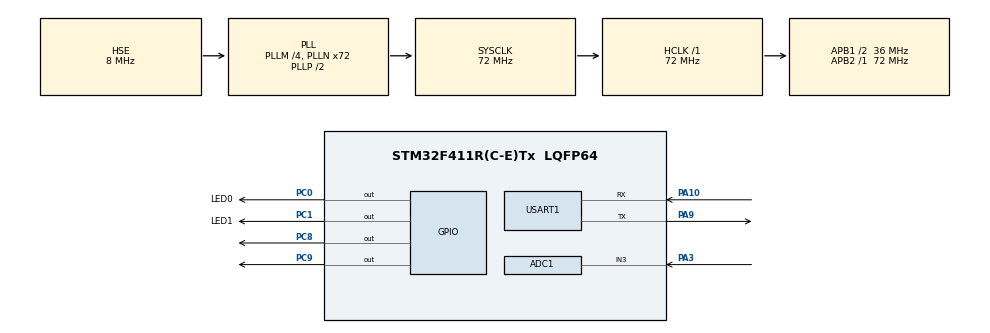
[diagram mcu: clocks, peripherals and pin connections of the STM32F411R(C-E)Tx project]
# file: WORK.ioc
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ADC1.Channel-3\#ChannelRegularConversion=ADC_CHANNEL_3
ADC1.ContinuousConvMode=ENABLE
ADC1.NbrOfConversionFlag=1
ADC1.Rank-3\#ChannelRegularConversion=1
ADC1.SamplingTime-3\#ChannelRegularConversion=ADC_SAMPLETIME_3CYCLES
ADC1.master=1
Mcu.Family=STM32F4
Mcu.Name=STM32F411R(C-E)Tx
Mcu.Package=LQFP64
NVIC.PriorityGroup=NVIC_PRIORITYGROUP_4
NVIC.USART1_IRQn=true\:0\:0\:false\:false\:true\:true\:true\:true
PA10.Mode=Asynchronous
PA10.Signal=USART1_RX
PA3.Signal=ADCx_IN3
PA9.Mode=Asynchronous
PA9.Signal=USART1_TX
PC0.GPIO_Label=LED0
PC0.GPIO_PuPd=GPIO_PULLUP
PC0.GPIO_Speed=GPIO_SPEED_FREQ_HIGH
PC0.PinState=GPIO_PIN_SET
PC0.Signal=GPIO_Output
PC1.GPIO_Label=LED1
PC1.GPIO_PuPd=GPIO_PULLUP
PC1.GPIO_Speed=GPIO_SPEED_FREQ_HIGH
PC1.PinState=GPIO_PIN_SET
PC1.Signal=GPIO_Output
PC14-OSC32_IN.Mode=LSE-External-Oscillator
PC14-OSC32_IN.Signal=RCC_OSC32_IN
PC15-OSC32_OUT.Mode=LSE-External-Oscillator
PC15-OSC32_OUT.Signal=RCC_OSC32_OUT
PC8.GPIO_Speed=GPIO_SPEED_FREQ_HIGH
PC8.PinState=GPIO_PIN_SET
PC8.Signal=GPIO_Output
PC9.GPIO_Speed=GPIO_SPEED_FREQ_HIGH
PC9.PinState=GPIO_PIN_SET
PC9.Signal=GPIO_Output
PH0\ -\ OSC_IN.Mode=HSE-External-Oscillator
PH0\ -\ OSC_IN.Signal=RCC_OSC_IN
PH1\ -\ OSC_OUT.Mode=HSE-External-Oscillator
PH1\ -\ OSC_OUT.Signal=RCC_OSC_OUT
ProjectManager.HeapSize=0x200
ProjectManager.StackSize=0x400
ProjectManager.TargetToolchain=MDK-ARM V5
RCC.48MHZClocksFreq_Value=36000000
RCC.AHBFreq_Value=72000000
RCC.APB1CLKDivider=RCC_HCLK_DIV2
RCC.APB1Freq_Value=36000000
RCC.APB1TimFreq_Value=72000000
RCC.APB2Freq_Value=72000000
RCC.APB2TimFreq_Value=72000000
RCC.CortexFreq_Value=72000000
RCC.HCLKFreq_Value=72000000
RCC.HSE_VALUE=8000000
RCC.HSI_VALUE=16000000
RCC.PLLM=4
RCC.PLLN=72
RCC.PLLSourceVirtual=RCC_PLLSOURCE_HSE
RCC.SYSCLKFreq_VALUE=72000000
RCC.SYSCLKSource=RCC_SYSCLKSOURCE_PLLCLK
RCC.VCOOutputFreq_Value=144000000
SH.ADCx_IN3.0=ADC1_IN3,IN3
USART1.VirtualMode=VM_ASYNC
board=custom

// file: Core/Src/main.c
/* USER CODE BEGIN Header */
/**
  ******************************************************************************
  * @file           : main.c
  * @brief          : Main program body
  ******************************************************************************
  * @attention
  *
  * Copyright (c) 2023 STMicroelectronics.
  * All rights reserved.
  *
  * This software is licensed under terms that can be found in the LICENSE file
  * in the root directory of this software component.
  * If no LICENSE file comes with this software, it is provided AS-IS.
  *
  ******************************************************************************
  */
/* USER CODE END Header */
#include "main.h"

/* USER CODE BEGIN Includes */
#include <led.h>
#include <usart.h>
#include <mpu.h>
/* USER CODE END Includes */

/* USER CODE BEGIN PD */
uint8_t ID;
int16_t AX, AY, AZ, GX, GY, GZ;
uint16_t ADC_Value;
float DVV;
int R;
float LX;
uint8_t rx_data[2];
/* USER CODE END PD */

ADC_HandleTypeDef hadc1;

UART_HandleTypeDef huart1;

void SystemClock_Config(void);
static void MX_GPIO_Init(void);
static void MX_USART1_UART_Init(void);
static void MX_ADC1_Init(void);

/* USER CODE BEGIN 0 */
   //HAL_UART_Receive_IT(&huart1,rx_data, 2);
/* USER CODE END 0 */

int main(void)
{

  /* MCU Configuration--------------------------------------------------------*/

  /* Reset of all peripherals, Initializes the Flash interface and the Systick. */
  HAL_Init();

  /* Configure the system clock */
  SystemClock_Config();

  /* Initialize all configured peripherals */
  MX_GPIO_Init();
  MX_USART1_UART_Init();
	//HAL_ADCEx_Calibration_Start(&hadc1,ADC_SINGLE_ENDED);
	   //HAL_ADCEX_
  MX_ADC1_Init();
  /* USER CODE BEGIN 2 */
	//printf("stm32 is ok\n");
	MPU6050_Init();
	ID = MPU6050_GetID();

  HAL_UART_Receive_IT(&huart1,rx_data, 2);
	LED1_ON();
	printf("stm32 is ok\n");
  /* USER CODE END 2 */

  /* Infinite loop */
  while (1)
  {

    /* USER CODE BEGIN 3 */
		HAL_ADC_Start(&hadc1);;
    HAL_ADC_PollForConversion(&hadc1,1);
    ADC_Value=HAL_ADC_GetValue(&hadc1);
    printf("ADC的模拟量是%4d\n",ADC_Value);
		DVV = (ADC_Value/4096.0)*3.3;
		printf("数字量是%f\n",DVV);
		R=10240000/(1.1*ADC_Value)-2500;
		LX = (R/100)*20/100.0;
		printf("电阻是%d\n",R);
		printf("光强度是%f\n",LX);
		//MPU6050_GetData(&AX, &AY, &AZ, &GX, &GY, &GZ);
		//printf("AX: %5d\n",AX);
		//printf("AY: %5d\n",AY);
		//printf("AZ: %5d\n",AZ);
		//printf("GX: %5d\n",GX);
		//printf("GY: %5d\n",GY);
		//printf("GZ: %5d\n",GZ);
		//HAL_Delay(1000);
  }
  /* USER CODE END 3 */
}

void SystemClock_Config(void)
{
  RCC_OscInitTypeDef RCC_OscInitStruct = {0};
  RCC_ClkInitTypeDef RCC_ClkInitStruct = {0};

  /** Configure the main internal regulator output voltage
  */
  __HAL_RCC_PWR_CLK_ENABLE();
  __HAL_PWR_VOLTAGESCALING_CONFIG(PWR_REGULATOR_VOLTAGE_SCALE1);

  /** Initializes the RCC Oscillators according to the specified parameters
  * in the RCC_OscInitTypeDef structure.
  */
  RCC_OscInitStruct.OscillatorType = RCC_OSCILLATORTYPE_HSE;
  RCC_OscInitStruct.HSEState = RCC_HSE_ON;
  RCC_OscInitStruct.PLL.PLLState = RCC_PLL_ON;
  RCC_OscInitStruct.PLL.PLLSource = RCC_PLLSOURCE_HSE;
  RCC_OscInitStruct.PLL.PLLM = 4;
  RCC_OscInitStruct.PLL.PLLN = 72;
  RCC_OscInitStruct.PLL.PLLP = RCC_PLLP_DIV2;
  RCC_OscInitStruct.PLL.PLLQ = 4;
  if (HAL_RCC_OscConfig(&RCC_OscInitStruct) != HAL_OK)
  {
    Error_Handler();
  }

  /** Initializes the CPU, AHB and APB buses clocks
  */
  RCC_ClkInitStruct.ClockType = RCC_CLOCKTYPE_HCLK|RCC_CLOCKTYPE_SYSCLK
                              |RCC_CLOCKTYPE_PCLK1|RCC_CLOCKTYPE_PCLK2;
  RCC_ClkInitStruct.SYSCLKSource = RCC_SYSCLKSOURCE_PLLCLK;
  RCC_ClkInitStruct.AHBCLKDivider = RCC_SYSCLK_DIV1;
  RCC_ClkInitStruct.APB1CLKDivider = RCC_HCLK_DIV2;
  RCC_ClkInitStruct.APB2CLKDivider = RCC_HCLK_DIV1;

  if (HAL_RCC_ClockConfig(&RCC_ClkInitStruct, FLASH_LATENCY_2) != HAL_OK)
  {
    Error_Handler();
  }
}

static void MX_ADC1_Init(void)
{

  ADC_ChannelConfTypeDef sConfig = {0};

  /** Configure the global features of the ADC (Clock, Resolution, Data Alignment and number of conversion)
  */
  hadc1.Instance = ADC1;
  hadc1.Init.ClockPrescaler = ADC_CLOCK_SYNC_PCLK_DIV2;
  hadc1.Init.Resolution = ADC_RESOLUTION_12B;
  hadc1.Init.ScanConvMode = DISABLE;
  hadc1.Init.ContinuousConvMode = ENABLE;
  hadc1.Init.DiscontinuousConvMode = DISABLE;
  hadc1.Init.ExternalTrigConvEdge = ADC_EXTERNALTRIGCONVEDGE_NONE;
  hadc1.Init.ExternalTrigConv = ADC_SOFTWARE_START;
  hadc1.Init.DataAlign = ADC_DATAALIGN_RIGHT;
  hadc1.Init.NbrOfConversion = 1;
  hadc1.Init.DMAContinuousRequests = DISABLE;
  hadc1.Init.EOCSelection = ADC_EOC_SINGLE_CONV;
  if (HAL_ADC_Init(&hadc1) != HAL_OK)
  {
    Error_Handler();
  }

  /** Configure for the selected ADC regular channel its corresponding rank in the sequencer and its sample time.
  */
  sConfig.Channel = ADC_CHANNEL_3;
  sConfig.Rank = 1;
  sConfig.SamplingTime = ADC_SAMPLETIME_3CYCLES;
  if (HAL_ADC_ConfigChannel(&hadc1, &sConfig) != HAL_OK)
  {
    Error_Handler();
  }

}

static void MX_USART1_UART_Init(void)
{

  huart1.Instance = USART1;
  huart1.Init.BaudRate = 115200;
  huart1.Init.WordLength = UART_WORDLENGTH_8B;
  huart1.Init.StopBits = UART_STOPBITS_1;
  huart1.Init.Parity = UART_PARITY_NONE;
  huart1.Init.Mode = UART_MODE_TX_RX;
  huart1.Init.HwFlowCtl = UART_HWCONTROL_NONE;
  huart1.Init.OverSampling = UART_OVERSAMPLING_16;
  if (HAL_UART_Init(&huart1) != HAL_OK)
  {
    Error_Handler();
  }

}

static void MX_GPIO_Init(void)
{
  GPIO_InitTypeDef GPIO_InitStruct = {0};

  /* GPIO Ports Clock Enable */
  __HAL_RCC_GPIOC_CLK_ENABLE();
  __HAL_RCC_GPIOH_CLK_ENABLE();
  __HAL_RCC_GPIOA_CLK_ENABLE();

  /*Configure GPIO pin Output Level */
  HAL_GPIO_WritePin(GPIOC, LED0_Pin|LED1_Pin|GPIO_PIN_8|GPIO_PIN_9, GPIO_PIN_SET);

  /*Configure GPIO pins : LED0_Pin LED1_Pin */
  GPIO_InitStruct.Pin = LED0_Pin|LED1_Pin;
  GPIO_InitStruct.Mode = GPIO_MODE_OUTPUT_PP;
  GPIO_InitStruct.Pull = GPIO_PULLUP;
  GPIO_InitStruct.Speed = GPIO_SPEED_FREQ_HIGH;
  HAL_GPIO_Init(GPIOC, &GPIO_InitStruct);

  /*Configure GPIO pins : PC8 PC9 */
  GPIO_InitStruct.Pin = GPIO_PIN_8|GPIO_PIN_9;
  GPIO_InitStruct.Mode = GPIO_MODE_OUTPUT_PP;
  GPIO_InitStruct.Pull = GPIO_NOPULL;
  GPIO_InitStruct.Speed = GPIO_SPEED_FREQ_HIGH;
  HAL_GPIO_Init(GPIOC, &GPIO_InitStruct);

}

void Error_Handler(void)
{
  __disable_irq();
  while (1)
  {
  }
}
